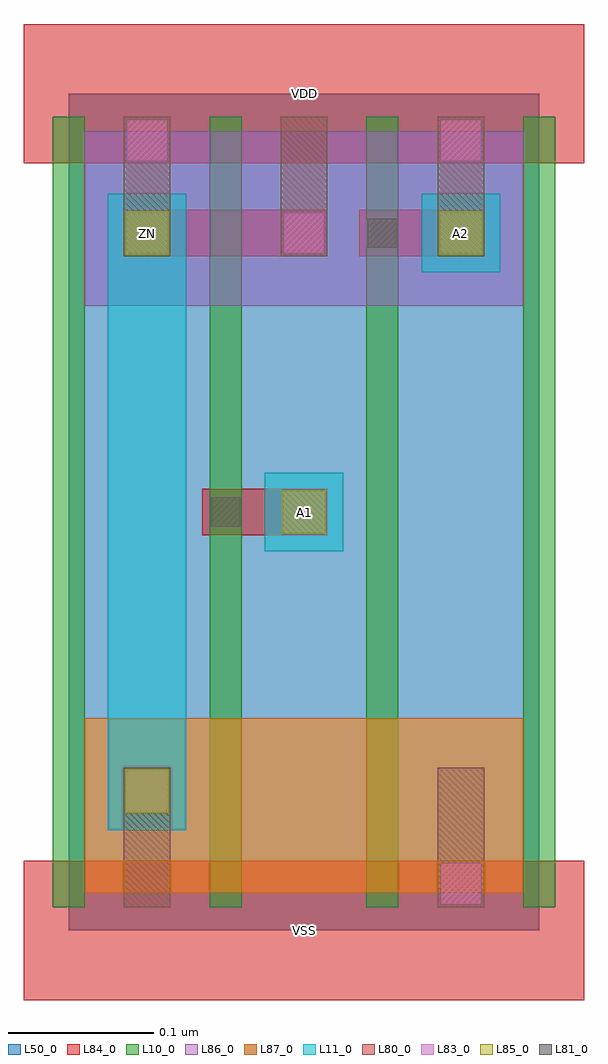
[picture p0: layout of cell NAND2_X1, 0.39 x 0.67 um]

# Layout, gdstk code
import gdstk
lib = gdstk.Library(unit=1e-6, precision=1e-09)
def R(c, l, rs):  # rectangles x0, y0, x1, y1
    for r in rs: c.add(gdstk.rectangle(r[:2], r[2:], *l))
def A(c, l, x, y, w, h, nx, ny, dx, dy):  # array of equal rectangles
    R(c, l, [(x+i*dx, y+j*dy, x+i*dx+w, y+j*dy+h) for i in range(nx) for j in range(ny)])
L10_0 = (10, 0)
L11_0 = (11, 0)
L50_0 = (50, 0)
L80_0 = (80, 0)
L81_0 = (81, 0)
L83_0 = (83, 0)
L84_0 = (84, 0)
L85_0 = (85, 0)
L86_0 = (86, 0)
L87_0 = (87, 0)

nand2_x1 = lib.new_cell('NAND2_X1')
A(nand2_x1, L10_0, -0.011, 0.016, 0.022, 0.544, 4, 1, 0.108, 0)
R(nand2_x1, L11_0, [(0.027,0.069,0.081,0.507), (0.135,0.261,0.189,0.315), (0.243,0.453,0.297,0.507)])
R(nand2_x1, L50_0, [(0,0,0.324,0.576)])
A(nand2_x1, L80_0, 0.038, 0.464, 0.032, 0.096, 3, 1, 0.108, 0)
R(nand2_x1, L80_0, [(0.038,0.016,0.07,0.112), (0.254,0.016,0.286,0.112)])
R(nand2_x1, L81_0, [(0.098,0.278,0.118,0.298), (0.206,0.47,0.226,0.49)])
R(nand2_x1, L83_0, [(0.256,0.018,0.284,0.046), (0.04,0.082,0.068,0.11), (0.148,0.466,0.176,0.494), (0.04,0.53,0.068,0.558), (0.256,0.53,0.284,0.558)])
R(nand2_x1, L84_0, [(-0.031,-0.048,0.355,0.048), (0.038,0.08,0.07,0.112), (0.092,0.272,0.178,0.304), (0.038,0.464,0.178,0.496), (0.2,0.464,0.286,0.496), (-0.031,0.528,0.355,0.624)])
R(nand2_x1, L85_0, [(0.039,0.081,0.069,0.111), (0.147,0.273,0.177,0.303), (0.039,0.465,0.069,0.495), (0.255,0.465,0.285,0.495)])
R(nand2_x1, L86_0, [(0.011,0.43,0.313,0.55)])
R(nand2_x1, L87_0, [(0.011,0.026,0.313,0.146)])
nand2_x1.add(gdstk.Label('VDD', (0.162,0.576), layer=88, texttype=0))
nand2_x1.add(gdstk.Label('VSS', (0.162,0), layer=88, texttype=0))
nand2_x1.add(gdstk.Label('ZN', (0.054,0.48), layer=31, texttype=0))
nand2_x1.add(gdstk.Label('A1', (0.162,0.288), layer=31, texttype=0))
nand2_x1.add(gdstk.Label('A2', (0.27,0.48), layer=31, texttype=0))

lib.write_gds('NAND2_X1.gds')
